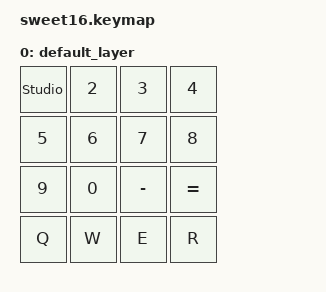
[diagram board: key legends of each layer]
#include <behaviors.dtsi>
#include <dt-bindings/zmk/keys.h>

/ {
    keymap {
        compatible = "zmk,keymap";

        default_layer {
            bindings = <
                &studio_unlock  &kp N2  &kp N3     &kp N4
                &kp N5  &kp N6  &kp N7     &kp N8
                &kp N9  &kp N0  &kp MINUS  &kp EQUAL
                &kp Q   &kp W   &kp E      &kp R
            >;
        };
    };
};
